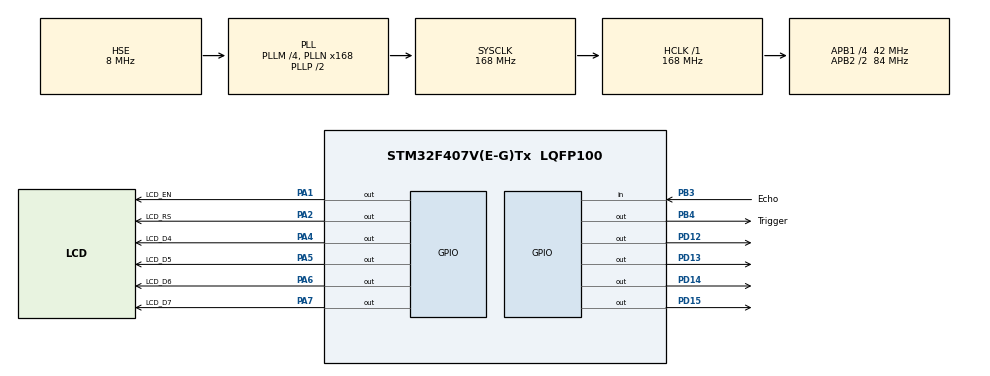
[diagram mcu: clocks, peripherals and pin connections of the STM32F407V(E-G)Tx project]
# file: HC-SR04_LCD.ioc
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Mcu.Family=STM32F4
Mcu.Name=STM32F407V(E-G)Tx
Mcu.Package=LQFP100
NVIC.PriorityGroup=NVIC_PRIORITYGROUP_4
PA1.GPIO_Label=LCD_EN
PA1.Signal=GPIO_Output
PA13.Mode=Serial_Wire
PA13.Signal=SYS_JTMS-SWDIO
PA14.Mode=Serial_Wire
PA14.Signal=SYS_JTCK-SWCLK
PA2.GPIO_Label=LCD_RS
PA2.Signal=GPIO_Output
PA4.GPIO_Label=LCD_D4
PA4.Signal=GPIO_Output
PA5.GPIO_Label=LCD_D5
PA5.Signal=GPIO_Output
PA6.GPIO_Label=LCD_D6
PA6.Signal=GPIO_Output
PA7.GPIO_Label=LCD_D7
PA7.Signal=GPIO_Output
PB3.GPIO_Label=Echo
PB3.Signal=GPIO_Input
PB4.GPIO_Label=Trigger
PB4.Signal=GPIO_Output
PD12.Signal=GPIO_Output
PD13.Signal=GPIO_Output
PD14.Signal=GPIO_Output
PD15.Signal=GPIO_Output
PH0-OSC_IN.Mode=HSE-External-Oscillator
PH0-OSC_IN.Signal=RCC_OSC_IN
PH1-OSC_OUT.Mode=HSE-External-Oscillator
PH1-OSC_OUT.Signal=RCC_OSC_OUT
ProjectManager.HeapSize=0x200
ProjectManager.StackSize=0x400
ProjectManager.TargetToolchain=TrueSTUDIO
RCC.48MHZClocksFreq_Value=84000000
RCC.AHBFreq_Value=168000000
RCC.APB1CLKDivider=RCC_HCLK_DIV4
RCC.APB1Freq_Value=42000000
RCC.APB1TimFreq_Value=84000000
RCC.APB2CLKDivider=RCC_HCLK_DIV2
RCC.APB2Freq_Value=84000000
RCC.APB2TimFreq_Value=168000000
RCC.CortexFreq_Value=168000000
RCC.HCLKFreq_Value=168000000
RCC.HSE_VALUE=8000000
RCC.HSI_VALUE=16000000
RCC.LSE_VALUE=32768
RCC.PLLM=4
RCC.PLLN=168
RCC.PLLSourceVirtual=RCC_PLLSOURCE_HSE
RCC.SYSCLKFreq_VALUE=168000000
RCC.SYSCLKSource=RCC_SYSCLKSOURCE_PLLCLK
RCC.VCOOutputFreq_Value=336000000
board=custom

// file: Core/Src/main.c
/* USER CODE BEGIN Header */
/**
  ******************************************************************************
  * @file           : main.c
  * @brief          : Main program body
  ******************************************************************************
  * @attention
  *
  * <h2><center>&copy; Copyright (c) 2021 STMicroelectronics.
  * All rights reserved.</center></h2>
  *
  * This software component is licensed by ST under BSD 3-Clause license,
  * the "License"; You may not use this file except in compliance with the
  * License. You may obtain a copy of the License at:
  *                        opensource.org/licenses/BSD-3-Clause
  *
  ******************************************************************************
  */
/* USER CODE END Header */
#include "main.h"

/* USER CODE BEGIN Includes */
#include "dwt_stm32_delay.h"
#include "LCD.h"
#include "string.h"
#include "stdio.h"
/* USER CODE END Includes */

/* USER CODE BEGIN PD */

char line1[32];

/* USER CODE END PD */

/* USER CODE BEGIN PV */
uint32_t time;
uint16_t distance;
/* USER CODE END PV */

void SystemClock_Config(void);
static void MX_GPIO_Init(void);

/* USER CODE BEGIN 0 */
uint32_t Sensor_Read()
{
	uint32_t local_time=0;
	HAL_GPIO_WritePin(GPIOB,Trigger_Pin,GPIO_PIN_RESET);
    DWT_Delay_us(10);

	HAL_GPIO_WritePin(GPIOB,Trigger_Pin,GPIO_PIN_SET);
    DWT_Delay_us(10);

	HAL_GPIO_WritePin(GPIOB,Trigger_Pin,GPIO_PIN_RESET);
    DWT_Delay_us(10);

    while(!HAL_GPIO_ReadPin(GPIOB,Echo_Pin));

    while(HAL_GPIO_ReadPin(GPIOB,Echo_Pin))
    {
    	local_time++;
    	DWT_Delay_us(1);
    }
    HAL_Delay(50);
    return local_time;
}
/* USER CODE END 0 */

int main(void)
{

  /* MCU Configuration--------------------------------------------------------*/

  /* Reset of all peripherals, Initializes the Flash interface and the Systick. */
  HAL_Init();

  /* Configure the system clock */
  SystemClock_Config();

  /* Initialize all configured peripherals */
  MX_GPIO_Init();
  /* USER CODE BEGIN 2 */
  DWT_Delay_Init();
  lcd_init(_LCD_4BIT, _LCD_FONT_5x8, _LCD_2LINE);
  /* USER CODE END 2 */

  /* Infinite loop */
  while (1)
  {

    /* USER CODE BEGIN 3 */

	  time = Sensor_Read();
	  distance = time / 58;
	  HAL_Delay(200);
	  sprintf(line1,"%d cm",distance);
	  lcd_print(1,1,line1);
  }
  /* USER CODE END 3 */
}

void SystemClock_Config(void)
{
  RCC_OscInitTypeDef RCC_OscInitStruct = {0};
  RCC_ClkInitTypeDef RCC_ClkInitStruct = {0};

  /** Configure the main internal regulator output voltage
  */
  __HAL_RCC_PWR_CLK_ENABLE();
  __HAL_PWR_VOLTAGESCALING_CONFIG(PWR_REGULATOR_VOLTAGE_SCALE1);
  /** Initializes the RCC Oscillators according to the specified parameters
  * in the RCC_OscInitTypeDef structure.
  */
  RCC_OscInitStruct.OscillatorType = RCC_OSCILLATORTYPE_HSE;
  RCC_OscInitStruct.HSEState = RCC_HSE_ON;
  RCC_OscInitStruct.PLL.PLLState = RCC_PLL_ON;
  RCC_OscInitStruct.PLL.PLLSource = RCC_PLLSOURCE_HSE;
  RCC_OscInitStruct.PLL.PLLM = 4;
  RCC_OscInitStruct.PLL.PLLN = 168;
  RCC_OscInitStruct.PLL.PLLP = RCC_PLLP_DIV2;
  RCC_OscInitStruct.PLL.PLLQ = 4;
  if (HAL_RCC_OscConfig(&RCC_OscInitStruct) != HAL_OK)
  {
    Error_Handler();
  }
  /** Initializes the CPU, AHB and APB buses clocks
  */
  RCC_ClkInitStruct.ClockType = RCC_CLOCKTYPE_HCLK|RCC_CLOCKTYPE_SYSCLK
                              |RCC_CLOCKTYPE_PCLK1|RCC_CLOCKTYPE_PCLK2;
  RCC_ClkInitStruct.SYSCLKSource = RCC_SYSCLKSOURCE_PLLCLK;
  RCC_ClkInitStruct.AHBCLKDivider = RCC_SYSCLK_DIV1;
  RCC_ClkInitStruct.APB1CLKDivider = RCC_HCLK_DIV4;
  RCC_ClkInitStruct.APB2CLKDivider = RCC_HCLK_DIV2;

  if (HAL_RCC_ClockConfig(&RCC_ClkInitStruct, FLASH_LATENCY_5) != HAL_OK)
  {
    Error_Handler();
  }
}

static void MX_GPIO_Init(void)
{
  GPIO_InitTypeDef GPIO_InitStruct = {0};

  /* GPIO Ports Clock Enable */
  __HAL_RCC_GPIOH_CLK_ENABLE();
  __HAL_RCC_GPIOA_CLK_ENABLE();
  __HAL_RCC_GPIOD_CLK_ENABLE();
  __HAL_RCC_GPIOB_CLK_ENABLE();

  /*Configure GPIO pin Output Level */
  HAL_GPIO_WritePin(GPIOA, LCD_EN_Pin|LCD_RS_Pin|LCD_D4_Pin|LCD_D5_Pin
                          |LCD_D6_Pin|LCD_D7_Pin, GPIO_PIN_RESET);

  /*Configure GPIO pin Output Level */
  HAL_GPIO_WritePin(GPIOD, GPIO_PIN_12|GPIO_PIN_13|GPIO_PIN_14|GPIO_PIN_15, GPIO_PIN_RESET);

  /*Configure GPIO pin Output Level */
  HAL_GPIO_WritePin(Trigger_GPIO_Port, Trigger_Pin, GPIO_PIN_RESET);

  /*Configure GPIO pins : LCD_EN_Pin LCD_RS_Pin LCD_D4_Pin LCD_D5_Pin
                           LCD_D6_Pin LCD_D7_Pin */
  GPIO_InitStruct.Pin = LCD_EN_Pin|LCD_RS_Pin|LCD_D4_Pin|LCD_D5_Pin
                          |LCD_D6_Pin|LCD_D7_Pin;
  GPIO_InitStruct.Mode = GPIO_MODE_OUTPUT_PP;
  GPIO_InitStruct.Pull = GPIO_NOPULL;
  GPIO_InitStruct.Speed = GPIO_SPEED_FREQ_LOW;
  HAL_GPIO_Init(GPIOA, &GPIO_InitStruct);

  /*Configure GPIO pins : PD12 PD13 PD14 PD15 */
  GPIO_InitStruct.Pin = GPIO_PIN_12|GPIO_PIN_13|GPIO_PIN_14|GPIO_PIN_15;
  GPIO_InitStruct.Mode = GPIO_MODE_OUTPUT_PP;
  GPIO_InitStruct.Pull = GPIO_NOPULL;
  GPIO_InitStruct.Speed = GPIO_SPEED_FREQ_LOW;
  HAL_GPIO_Init(GPIOD, &GPIO_InitStruct);

  /*Configure GPIO pin : Echo_Pin */
  GPIO_InitStruct.Pin = Echo_Pin;
  GPIO_InitStruct.Mode = GPIO_MODE_INPUT;
  GPIO_InitStruct.Pull = GPIO_NOPULL;
  HAL_GPIO_Init(Echo_GPIO_Port, &GPIO_InitStruct);

  /*Configure GPIO pin : Trigger_Pin */
  GPIO_InitStruct.Pin = Trigger_Pin;
  GPIO_InitStruct.Mode = GPIO_MODE_OUTPUT_PP;
  GPIO_InitStruct.Pull = GPIO_NOPULL;
  GPIO_InitStruct.Speed = GPIO_SPEED_FREQ_LOW;
  HAL_GPIO_Init(Trigger_GPIO_Port, &GPIO_InitStruct);

}

void Error_Handler(void)
{
  __disable_irq();
  while (1)
  {
  }
}

/************************ (C) COPYRIGHT STMicroelectronics *****END OF FILE****/
